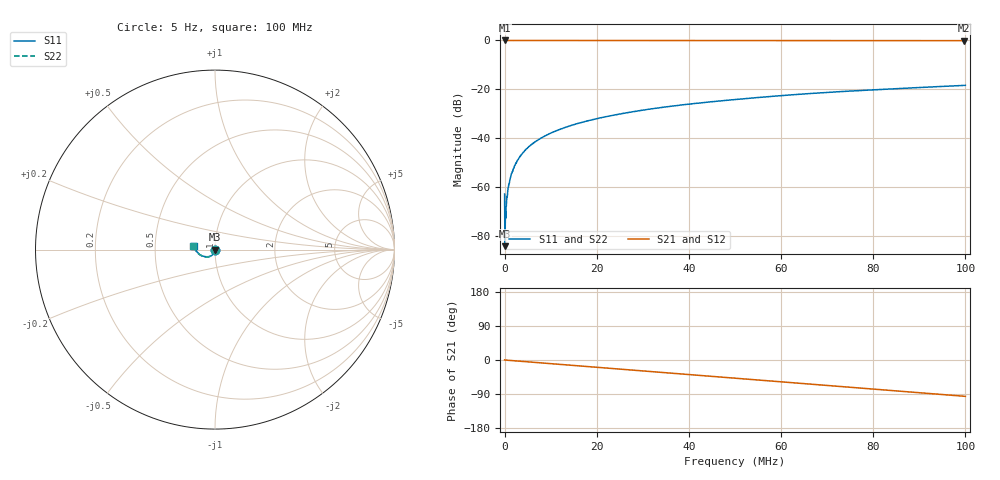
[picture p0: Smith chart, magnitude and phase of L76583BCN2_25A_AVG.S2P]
!Agilent Technologies,E5061B,MY49102235,A.02.00
!Date: Mon Jul 10 17:02:24 2023
!Data & Calibration Information:
!Freq	S11:SOLT2(ON)	S21:SOLT2(ON)	S12:SOLT2(ON)	S22:SOLT2(ON)
# Hz S RI R 50
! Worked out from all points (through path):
!   1600 points, 5 Hz to 100 MHz, reference 50 ohm
!   highest |S21| = 0.02 dB at 5 Hz (marker M1); lowest = -0.1 dB at 99.62 MHz (marker M2)
!   group delay of S21, straight-line fit = 2.67 ns
!   lowest |S11| = -84.0 dB at 62.54 kHz (marker M3), VSWR 1.00, Z = 50 - j0.00336 ohm
!   |S11| at or under -10 dB: start of sweep to end of sweep
!   |S22| runs from -77.5 to -18.3 dB; largest |S21 - S12| = 0.0026
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5  -0.00059 0.000425  1.002 0.00225  1.001 -1.26e-05  -0.000214 -5.75e-05
62544.08  -5.3e-05 -3.36e-05  1 -0.000856  1 -0.000536  3.09e-05 -0.00013
250161.3  2.7e-05 -0.000233  0.9998 -0.00443  0.9998 -0.00416  2.91e-05 -0.000252
562856.8  0.000117 -0.000614  0.9996 -0.00972  0.9997 -0.00919  5.39e-05 -0.000675
687934.9  -3.85e-05 -0.000871  1 -0.0115  1 -0.0115  -7.48e-06 -0.000805
938091.3  -0.000165 -0.00116  0.9996 -0.0156  0.9996 -0.0151  -0.000136 -0.00117
1063169  -5.6e-05 -0.00129  1 -0.0178  1 -0.0179  -4.89e-05 -0.00135
1375865  -5.41e-05 -0.00173  1 -0.0237  0.9994 -0.0233  -6.9e-05 -0.00175
1876178  -9.63e-05 -0.0024  0.9998 -0.0319  0.9995 -0.0312  -7.28e-05 -0.00236
2439029  -0.000133 -0.00312  0.9991 -0.0409  0.9986 -0.0407  -0.000161 -0.00314
3939967  -0.000297 -0.00504  0.9976 -0.0663  0.9976 -0.0659  -0.000327 -0.00498
6128835  -0.000749 -0.00779  0.9946 -0.1028  0.9946 -0.1026  -0.000792 -0.00775
8818016  -0.00157 -0.0112  0.9889 -0.1473  0.989 -0.1471  -0.00165 -0.0111
1.250782e7  -0.00324 -0.0156  0.9777 -0.2083  0.9778 -0.2081  -0.00324 -0.0155
1.669794e7  -0.00587 -0.0203  0.9607 -0.2762  0.9607 -0.2761  -0.00575 -0.0204
2.445279e7  -0.0126 -0.028  0.9167 -0.3983  0.9165 -0.3984  -0.0124 -0.0284
3.333334e7  -0.023 -0.035  0.8469 -0.5296  0.847 -0.5294  -0.0225 -0.0357
5.003127e7  -0.0476 -0.04  0.667 -0.7421  0.6671 -0.7422  -0.0477 -0.0409
6.672921e7  -0.0763 -0.0328  0.4358 -0.896  0.4357 -0.8956  -0.0762 -0.0339
8.33646e7  -0.101 -0.0117  0.1719 -0.9792  0.1717 -0.979  -0.1014 -0.0133
9.962477e7  -0.119 0.0212  -0.0964 -0.9874  -0.0967 -0.9871  -0.1198 0.0189
1e8  -0.1193 0.022  -0.1026 -0.9869  -0.1029 -0.9864  -0.1202 0.0197
